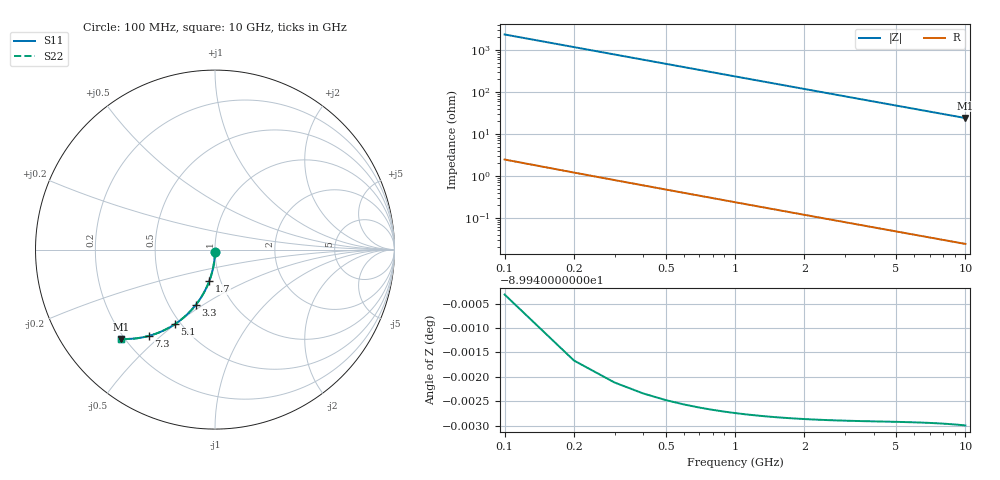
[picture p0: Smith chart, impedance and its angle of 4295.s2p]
# Hz S RI R 50.00
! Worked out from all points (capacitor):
!   100 points, 100 MHz to 10 GHz, reference 50 ohm
!   read as one part in shunt: C = 675 fF near 100 MHz
!   lowest |Z| = 24 ohm at 10 GHz (marker M1)
!   S11 on the Smith chart (normalised r, x): 100 MHz: 1.00, -0.02; 1.7 GHz: 0.89, -0.32; 3.3 GHz: 0.67, -0.47; 5.1 GHz: 0.47, -0.50; 7.3 GHz: 0.30, -0.46; 10 GHz: 0.19, -0.39
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1e8  -0.000121 -0.0106  0.9999 -0.0106  0.9999 -0.0106  -0.000121 -0.0106
2e8  -0.000469 -0.0212  0.9995 -0.0212  0.9995 -0.0212  -0.000469 -0.0212
3e8  -0.00104 -0.0317  0.999 -0.0318  0.999 -0.0318  -0.00104 -0.0317
4e8  -0.00184 -0.0423  0.9982 -0.0424  0.9982 -0.0424  -0.00184 -0.0423
5e8  -0.00285 -0.0528  0.9971 -0.0529  0.9971 -0.0529  -0.00285 -0.0528
6e8  -0.00409 -0.0633  0.9959 -0.0634  0.9959 -0.0634  -0.00409 -0.0633
8e8  -0.00722 -0.084  0.9928 -0.0843  0.9928 -0.0843  -0.00722 -0.084
9e8  -0.0091 -0.0943  0.9909 -0.0946  0.9909 -0.0946  -0.0091 -0.0943
1.1e9  -0.0135 -0.1148  0.9865 -0.1151  0.9865 -0.1151  -0.0135 -0.1148
1.4e9  -0.0216 -0.1448  0.9784 -0.1452  0.9784 -0.1452  -0.0216 -0.1448
1.7e9  -0.0315 -0.1739  0.9685 -0.1744  0.9685 -0.1744  -0.0315 -0.1739
1.8e9  -0.0351 -0.1834  0.9648 -0.1839  0.9648 -0.1839  -0.0351 -0.1834
2.1e9  -0.0471 -0.2111  0.9528 -0.2118  0.9528 -0.2118  -0.0471 -0.2111
2.5e9  -0.0654 -0.2463  0.9346 -0.2471  0.9346 -0.2471  -0.0654 -0.2463
3.3e9  -0.1082 -0.3097  0.8918 -0.3107  0.8918 -0.3107  -0.1082 -0.3097
3.4e9  -0.1141 -0.3169  0.8859 -0.3179  0.8859 -0.3179  -0.1141 -0.3169
4.2e9  -0.1637 -0.3689  0.8363 -0.3702  0.8363 -0.3702  -0.1637 -0.3689
5.1e9  -0.2234 -0.4152  0.7766 -0.4168  0.7766 -0.4168  -0.2234 -0.4152
6.7e9  -0.3306 -0.4688  0.6694 -0.471  0.6694 -0.471  -0.3306 -0.4688
7.3e9  -0.3692 -0.4809  0.6308 -0.4833  0.6308 -0.4833  -0.3692 -0.4809
8.4e9  -0.436 -0.494  0.564 -0.4967  0.564 -0.4967  -0.436 -0.494
1e10  -0.522 -0.4974  0.478 -0.5006  0.478 -0.5006  -0.522 -0.4974
